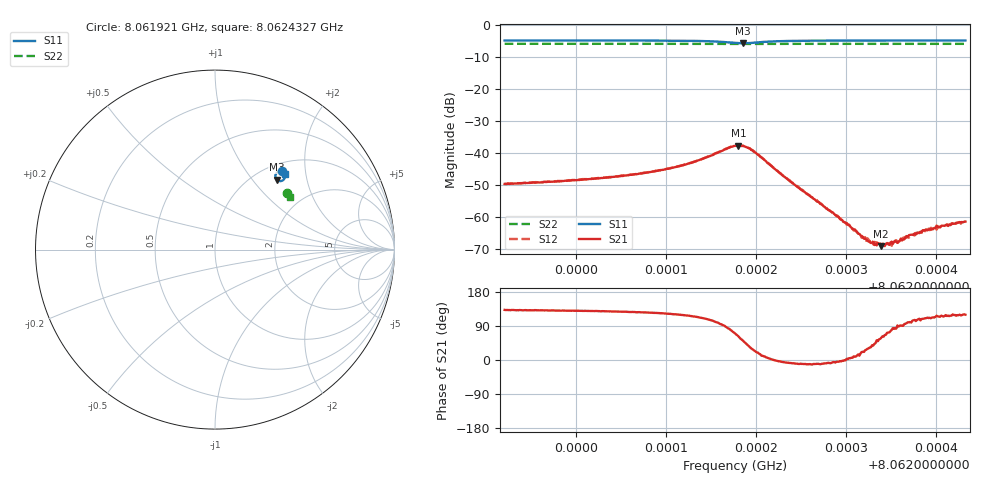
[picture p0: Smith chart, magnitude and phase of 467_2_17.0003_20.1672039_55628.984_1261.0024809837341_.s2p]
#  HZ  S  RI  R  50.00
! Rohde & Schwarz Vector Network Analyzer
! Rohde-Schwarz,ZNB20-2Port,1311601062101988,3.16
! Created: UTC 3/20/2024, 11:13:01 PM
! freq[Hz]  re:S11  im:S11  re:S21  im:S21  re:S12  im:S12  re:S22  im:S22
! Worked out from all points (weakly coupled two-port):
!   401 points, 8.061921 GHz to 8.0624327 GHz, reference 50 ohm
!   highest |S21| = -37.69 dB at 8.0621807 GHz (marker M1); lowest = -69.2 dB at 8.0623393 GHz (marker M2)
!   lowest |S11| = -5.7 dB at 8.0621858 GHz (marker M3), VSWR 3.16, Z = 62.9 + j67 ohm
!   |S11| at or under -10 dB: nowhere
!   |S22| runs from -5.9 to -5.8 dB; largest |S21 - S12| = 0.00089
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8.06192103e9  0.3719 0.44  -0.00219 0.00241  -0.00204 0.00256  0.4011 0.3159
8.06200673e9  0.3783 0.434  -0.00243 0.00292  -0.00229 0.00313  0.4041 0.3117
8.0620451e9  0.3816 0.4304  -0.00262 0.00338  -0.00245 0.00354  0.4057 0.3095
8.06209243e9  0.386 0.4238  -0.00296 0.00441  -0.00269 0.00464  0.4074 0.3069
8.0621308e9  0.3898 0.4127  -0.00301 0.00651  -0.00268 0.00672  0.4087 0.3047
8.06217685e9  0.3622 0.3816  0.0044 0.0121  0.00511 0.0118  0.4085 0.3016
8.06218068e9  0.3541 0.3829  0.00607 0.0116  0.00689 0.0112  0.4083 0.3014
8.0621858e9  0.3447 0.3889  0.00815 0.00995  0.0088 0.00947  0.4082 0.3015
8.06219859e9  0.3365 0.4129  0.00938 0.00424  0.00985 0.00371  0.4085 0.3022
8.06223057e9  0.3585 0.4351  0.00431 -0.000417  0.00435 -0.000684  0.411 0.3011
8.06226255e9  0.371 0.4348  0.00195 -0.000414  0.00195 -0.000504  0.4125 0.2996
8.06229325e9  0.3772 0.4324  0.000922 -4.74e-05  0.000943 -0.000115  0.4137 0.298
8.06232011e9  0.3812 0.4303  0.000423 0.000166  0.000432 0.000161  0.4148 0.2964
8.0623265e9  0.3819 0.4299  0.000337 0.000218  0.000367 0.000189  0.4151 0.2961
8.0623329e9  0.3827 0.4296  0.000264 0.00026  0.000302 0.000242  0.4152 0.2959
8.06233929e9  0.3833 0.429  0.000179 0.000296  0.000208 0.000292  0.4155 0.2955
8.06234825e9  0.3842 0.4283  0.000107 0.000346  0.00011 0.000374  0.4158 0.2951
8.06235976e9  0.3852 0.4276  -2.68e-06 0.000421  2.71e-05 0.000414  0.4162 0.2943
8.06236871e9  0.386 0.427  -8.2e-05 0.00048  -1.07e-05 0.000492  0.4166 0.2939
8.0623879e9  0.3879 0.4258  -0.000213 0.000583  -0.000186 0.000563  0.4172 0.2929
8.06240964e9  0.3895 0.4245  -0.00032 0.000646  -0.000279 0.000679  0.4181 0.2919
8.06243267e9  0.3913 0.423  -0.000415 0.00073  -0.000379 0.000724  0.4189 0.2905
